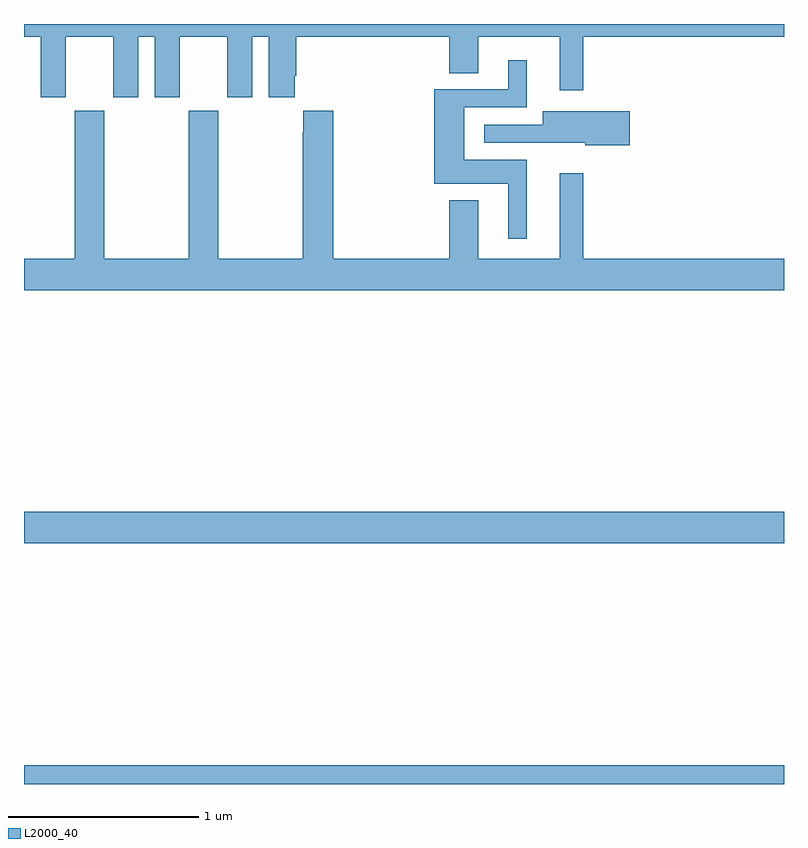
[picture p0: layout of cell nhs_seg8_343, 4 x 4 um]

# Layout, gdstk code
import gdstk
lib = gdstk.Library(unit=1e-6, precision=1e-09)
def R(c, l, rs):  # rectangles x0, y0, x1, y1
    for r in rs: c.add(gdstk.rectangle(r[:2], r[2:], *l))
def P(c, l, *ps):  # polygons
    for p in ps: c.add(gdstk.Polygon(p, *l))
L2000_40 = (2000, 40)

nhs_seg8_343 = lib.new_cell('nhs_seg8_343')
R(nhs_seg8_343, L2000_40, [(133,1113.9,137,1114), (133,1115.168,137,1115.332)])
P(nhs_seg8_343, L2000_40, [(133.219,1117.832),(133.469,1117.832),(133.469,1117.515),(133.6,1117.515),(133.6,1117.832),(133.688,1117.832),(133.688,1117.515),(133.819,1117.515),(133.819,1117.832),(134.069,1117.832),(134.069,1117.515),(134.2,1117.515),(134.2,1117.832),(134.288,1117.832),(134.288,1117.515),(134.425,1117.515),(134.425,1117.627),(134.432,1117.627),(134.432,1117.832),(135.239,1117.832),(135.239,1117.642),(135.391,1117.642),(135.391,1117.832),(135.821,1117.832),(135.821,1117.551),(135.943,1117.551),(135.943,1117.832),(137,1117.832),(137,1117.9),(133,1117.9),(133,1117.832),(133.088,1117.832),(133.088,1117.515),(133.219,1117.515)],
  [(135.646,1117.186),(135.316,1117.186),(135.316,1117.461),(135.646,1117.461),(135.646,1117.708),(135.548,1117.708),(135.548,1117.557),(135.158,1117.557),(135.158,1117.058),(135.548,1117.058),(135.548,1116.771),(135.646,1116.771)],
  [(137,1116.664),(135.943,1116.664),(135.943,1117.114),(135.821,1117.114),(135.821,1116.664),(135.391,1116.664),(135.391,1116.973),(135.239,1116.973),(135.239,1116.664),(134.627,1116.664),(134.627,1117.444),(134.471,1117.444),(134.471,1117.331),(134.467,1117.331),(134.467,1116.664),(134.022,1116.664),(134.022,1117.444),(133.867,1117.444),(133.867,1116.664),(133.422,1116.664),(133.422,1117.444),(133.267,1117.444),(133.267,1116.664),(133,1116.664),(133,1116.5),(137,1116.5)],
  [(136.189,1117.44),(135.731,1117.44),(135.731,1117.371),(135.423,1117.371),(135.423,1117.275),(135.735,1117.275),(135.735,1117.274),(135.954,1117.274),(135.954,1117.262),(136.189,1117.262)])

lib.write_gds('nhs_seg8_343.gds')
